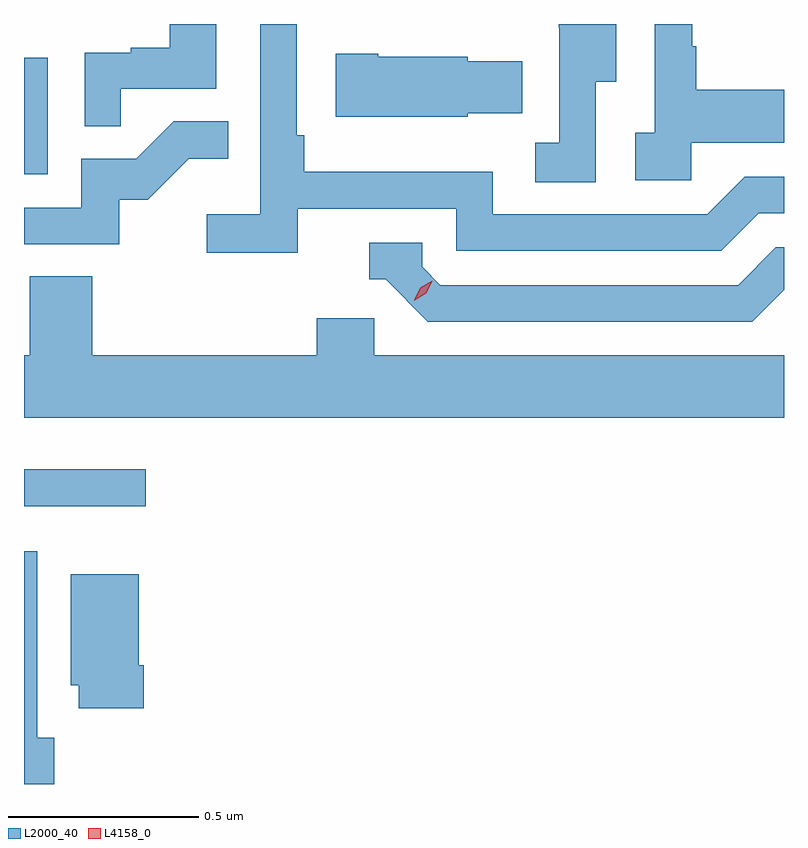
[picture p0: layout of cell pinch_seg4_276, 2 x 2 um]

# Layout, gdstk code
import gdstk
lib = gdstk.Library(unit=1e-6, precision=1e-09)
def R(c, l, rs):  # rectangles x0, y0, x1, y1
    for r in rs: c.add(gdstk.rectangle(r[:2], r[2:], *l))
def P(c, l, *ps):  # polygons
    for p in ps: c.add(gdstk.Polygon(p, *l))
L2000_40 = (2000, 40)
L4158_0 = (4158, 0)

pinch_seg4_276 = lib.new_cell('pinch_seg4_276')
R(pinch_seg4_276, L2000_40, [(921.554,828.555,921.874,828.652), (921.554,829.428,921.616,829.735)])
P(pinch_seg4_276, L2000_40, [(921.809,829.653),(922.06,829.653),(922.06,829.824),(921.938,829.824),(921.938,829.762),(921.835,829.762),(921.835,829.749),(921.714,829.749),(921.714,829.555),(921.809,829.555)],
  [(922.274,829.338),(922.692,829.338),(922.692,829.227),(923.389,829.227),(923.488,829.326),(923.554,829.326),(923.554,829.422),(923.451,829.422),(923.352,829.323),(922.788,829.323),(922.788,829.435),(922.292,829.435),(922.292,829.531),(922.272,829.531),(922.272,829.824),(922.176,829.824),(922.176,829.324),(922.035,829.324),(922.035,829.222),(922.274,829.222)],
  [(923.31,829.511),(923.554,829.511),(923.554,829.651),(923.323,829.651),(923.323,829.766),(923.313,829.766),(923.313,829.824),(923.214,829.824),(923.214,829.538),(923.163,829.538),(923.163,829.413),(923.31,829.413)],
  [(923.058,829.672),(923.113,829.672),(923.113,829.824),(922.961,829.824),(922.961,829.815),(922.962,829.815),(922.962,829.511),(922.899,829.511),(922.899,829.408),(923.058,829.408)],
  [(922.722,829.589),(922.865,829.589),(922.865,829.726),(922.722,829.726),(922.722,829.738),(922.486,829.738),(922.486,829.746),(922.374,829.746),(922.374,829.58),(922.722,829.58)],
  [(921.804,829.362),(921.88,829.362),(921.987,829.469),(922.091,829.469),(922.091,829.568),(921.948,829.568),(921.85,829.47),(921.705,829.47),(921.705,829.341),(921.554,829.341),(921.554,829.245),(921.804,829.245)],
  [(923.554,829.125),(923.554,829.236),(923.532,829.236),(923.433,829.137),(922.65,829.137),(922.602,829.185),(922.602,829.248),(922.463,829.248),(922.463,829.152),(922.506,829.152),(922.617,829.041),(923.47,829.041)],
  [(923.554,828.952),(922.476,828.952),(922.476,829.05),(922.325,829.05),(922.325,828.952),(921.734,828.952),(921.734,829.16),(921.569,829.16),(921.569,828.952),(921.554,828.952),(921.554,828.788),(923.554,828.788)],
  [(921.634,827.946),(921.589,827.946),(921.589,828.436),(921.554,828.436),(921.554,827.824),(921.634,827.824)],
  [(921.869,828.136),(921.856,828.136),(921.856,828.376),(921.677,828.376),(921.677,828.084),(921.698,828.084),(921.698,828.024),(921.869,828.024)])
P(pinch_seg4_276, L4158_0, [(922.581,829.097),(922.581,829.097),(922.597,829.13),(922.628,829.149),(922.628,829.149),(922.628,829.149),(922.612,829.116),(922.582,829.097)])

lib.write_gds('pinch_seg4_276.gds')
